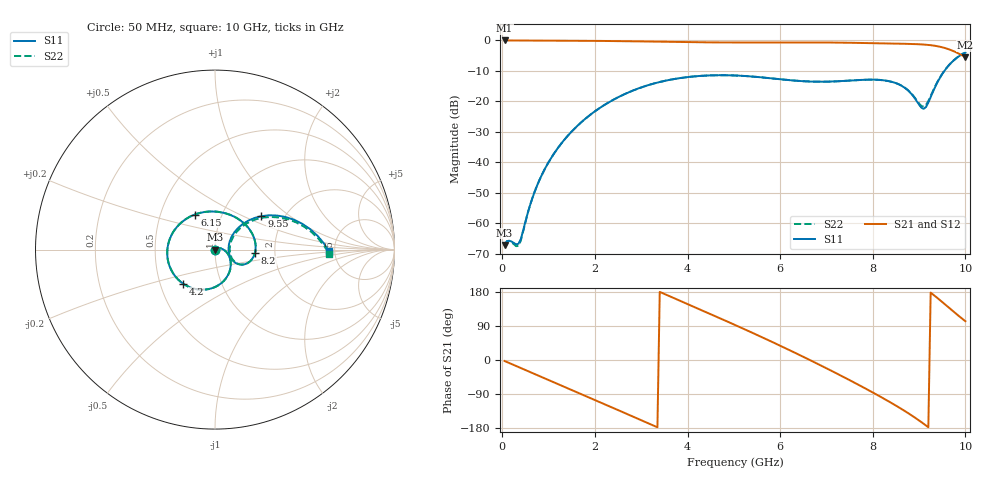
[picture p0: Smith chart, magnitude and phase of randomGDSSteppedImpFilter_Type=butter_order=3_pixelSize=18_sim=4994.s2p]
! freq	dB(S11)	phase(S11)	dB(S12)	phase(S12)
!  dB(S21)	phase(S21)	dB(S22)	phase(S22)
!S-par simulation data
#  GHz  S  DB  R 50
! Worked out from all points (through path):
!   200 points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, 50 MHz to 10 GHz, reference 50 ohm
!   highest |S21| = -0.01 dB at 50 MHz (marker M1); lowest = -5.5 dB at 10 GHz (marker M2)
!   group delay of S21, straight-line fit = 163 ps
!   lowest |S11| = -67.0 dB at 50 MHz (marker M3), VSWR 1.00, Z = 50 + j0.0179 ohm
!   |S11| at or under -10 dB: start of sweep to 9.547 GHz
!   |S22| runs from -67.4 to -3.9 dB; largest |S21 - S12| = 0
!   S11 on the Smith chart (normalised r, x): 50 MHz: 1.00, +0.00; 4.2 GHz: 0.66, -0.27; 6.15 GHz: 0.74, +0.31; 8.2 GHz: 1.57, -0.05; 9.55 GHz: 1.54, +0.64; 10 GHz: 4.48, -0.15
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0.05  -67.05 23.7  -0.01 -2.7  -0.01 -2.7  -67.06 23.7
0.35  -66.65 12.7  -0.03 -18.5  -0.03 -18.5  -67.34 15.7
0.65  -51.66 54.6  -0.04 -34.2  -0.04 -34.2  -51.65 57.8
0.9  -42.68 44.5  -0.06 -47.3  -0.06 -47.3  -42.66 46.6
1.3  -33.29 23.0  -0.08 -68.4  -0.08 -68.4  -33.28 24.4
1.75  -26.23 -1.3  -0.11 -92.2  -0.11 -92.2  -26.23 -0.3
2.65  -17.53 -49.6  -0.25 -140.2  -0.25 -140.2  -17.53 -49.0
3.4  -13.62 -90.1  -0.42 179.7  -0.42 179.7  -13.62 -89.7
4.2  -11.72 -132.6  -0.60 137.0  -0.60 137.0  -11.72 -132.5
5.05  -11.50 -178.1  -0.67 91.1  -0.67 91.1  -11.50 -178.3
5.6  -12.10 151.4  -0.66 60.6  -0.66 60.6  -12.10 150.9
6.15  -12.94 119.9  -0.63 29.0  -0.63 29.0  -12.95 118.9
6.7  -13.50 87.1  -0.64 -3.6  -0.64 -3.6  -13.50 85.8
7.1  -13.48 62.7  -0.68 -28.0  -0.68 -28.0  -13.48 61.3
7.55  -13.11 35.1  -0.77 -56.3  -0.77 -56.3  -13.11 33.8
8.2  -13.01 -4.2  -0.96 -99.2  -0.96 -99.2  -13.00 -4.8
8.35  -13.36 -12.9  -1.00 -109.6  -1.00 -109.6  -13.34 -13.4
8.7  -15.63 -30.4  -1.11 -135.3  -1.11 -135.3  -15.57 -30.0
9.1  -22.43 3.0  -1.34 -168.3  -1.34 -168.3  -21.74 2.7
9.55  -9.93 35.8  -2.45 147.9  -2.45 147.9  -9.84 33.6
9.75  -6.52 20.5  -3.55 127.1  -3.55 127.1  -6.47 18.8
10  -3.94 -0.9  -5.51 102.4  -5.51 102.4  -3.92 -2.3
